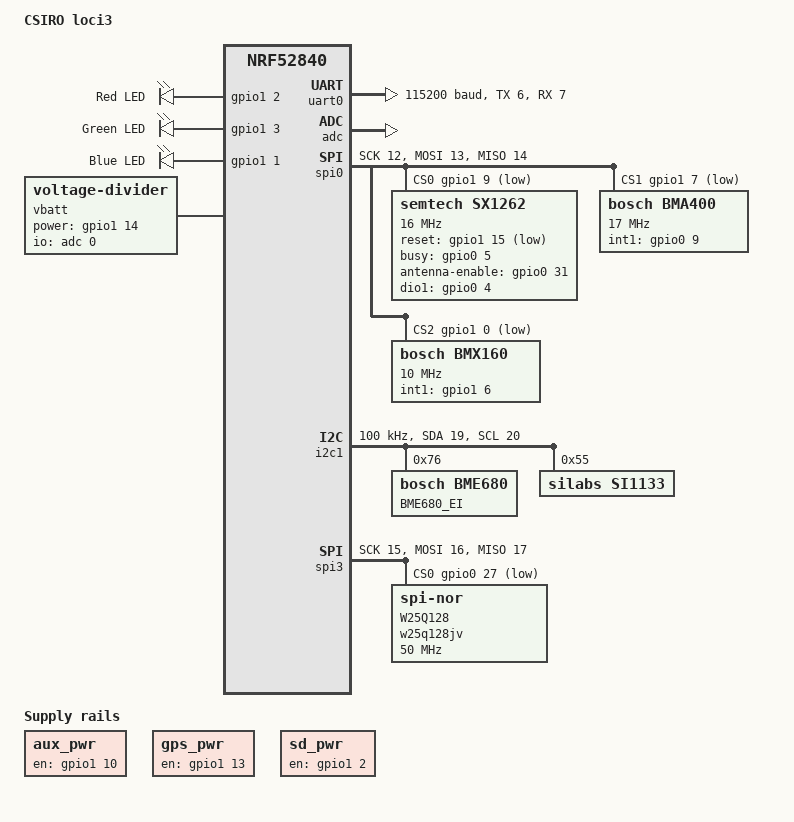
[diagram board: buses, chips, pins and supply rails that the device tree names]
/*
 * Copyright (c) 2021 CSIRO
 *
 * SPDX-License-Identifier: Apache-2.0
 */

 /dts-v1/;
 #include <nordic/nrf52840_qiaa.dtsi>

/ {
	model = "CSIRO loci3";
	compatible = "csiro,loci3";

	chosen {
		zephyr,sram = &sram0;
		zephyr,flash = &flash0;
		zephyr,code-partition = &slot0_partition;
		zephyr,console = &uart0;
		zephyr,shell-uart = &uart0;
	};

	leds {
		compatible = "gpio-leds";
		red_led: led_0 {
			gpios = <&gpio1 2 (GPIO_ACTIVE_HIGH | GPIO_OPEN_SOURCE)>;
			label = "Red LED";
		};
		green_led: led_1 {
			gpios = <&gpio1 3 (GPIO_ACTIVE_HIGH | GPIO_OPEN_SOURCE)>;
			label = "Green LED";
		};
		blue_led: led_2  {
			gpios = <&gpio1 1 (GPIO_ACTIVE_HIGH | GPIO_OPEN_SOURCE)>;
			label = "Blue LED";
		};
	};

	vbatt {
		compatible = "voltage-divider";
		io-channels = <&adc 0>;
		output-ohms = <10000>;
		full-ohms = <(49900 + 10000)>;
		power-gpios = <&gpio1 14 (GPIO_ACTIVE_HIGH | GPIO_OPEN_SOURCE)>;
	};

	/* Auxiliary Power Domain */
	aux_pwr: aux-pwr-ctrl {
		compatible = "regulator-fixed";
		label = "aux-pwr-ctrl";
		regulator-name = "aux-pwr-ctrl";
		enable-gpios = <&gpio1 10 (GPIO_ACTIVE_HIGH | GPIO_OPEN_SOURCE)>;
	};

	/* GPS Power Domain */
	gps_pwr: gps-pwr-ctrl {
		compatible = "regulator-fixed-sync", "regulator-fixed";
		label = "gps-pwr-ctrl";
		regulator-name = "gps-pwr-ctrl";
		enable-gpios = <&gpio1 13 (GPIO_ACTIVE_HIGH | GPIO_OPEN_SOURCE)>;
	};

	/* SD Card Power Domain */
	sd_pwr: sd-pwr-ctrl {
		compatible = "regulator-fixed-sync", "regulator-fixed";
		label = "sd-pwr-ctrl";
		regulator-name = "sd-pwr-ctrl";
		enable-gpios = <&gpio1 2 (GPIO_ACTIVE_HIGH | GPIO_OPEN_SOURCE)>;
	};

	aliases {
		led0 = &red_led;
		led1 = &green_led;
		led2 = &blue_led;

		lora0 = &lora;
	};
};

&uart0 {
	compatible = "nordic,nrf-uarte";
	current-speed = <115200>;
	status = "okay";
	tx-pin = <6>;
	rx-pin = <7>;
	rts-pin = <8>;
	cts-pin = <11>;
};

&gpiote {
	status = "okay";
};

&gpio0 {
	status = "okay";
};

&gpio1 {
	status = "okay";
};

&adc {
	status = "okay";
};

/* SPIM0, SPIM1 and SPIM2 clocks are maximum 8MHz */
&spi0 {
	compatible = "nordic,nrf-spim";
	status = "okay";
	sck-pin = <12>;
	mosi-pin = <13>;
	miso-pin = <14>;
	cs-gpios = <&gpio1 9 (GPIO_ACTIVE_LOW | GPIO_OPEN_DRAIN)>,
			<&gpio1 7 (GPIO_ACTIVE_LOW | GPIO_OPEN_DRAIN)>,
			<&gpio1 0 (GPIO_ACTIVE_LOW | GPIO_OPEN_DRAIN)>;

	lora: sx1262@0 {
		compatible = "semtech,sx1262";
		reg = <0>;
		spi-max-frequency = <16000000>;
		label = "SX1262";
		reset-gpios = <&gpio1 15 (GPIO_ACTIVE_LOW)>;
		busy-gpios = <&gpio0 5 (GPIO_ACTIVE_HIGH)>;
		antenna-enable-gpios = <&gpio0 31 (GPIO_ACTIVE_HIGH)>;
		dio1-gpios = <&gpio0 4 (GPIO_ACTIVE_HIGH)>;
		dio2-tx-enable;
		tcxo-power-startup-delay-ms = <5>;
	};

	bma400: bma400@1 {
		compatible = "bosch,bma400";
		reg = <1>;
		spi-max-frequency = <17000000>;
		label = "BMA400";
		int1-gpios =  <&gpio0 9 (GPIO_ACTIVE_HIGH)>;
	};

	bmx160: bmx160@2 {
		compatible = "bosch,bmx160";
		reg = <2>;
		spi-max-frequency = <10000000>;
		label = "BMX160";
		int1-gpios =  <&gpio1 6 (GPIO_ACTIVE_HIGH)>;
	};
};

daughter_i2c: &i2c1 {
	compatible = "nordic,nrf-twi";
	status = "okay";
	sda-pin = <19>;
	scl-pin = <20>;
	clock-frequency = <I2C_BITRATE_STANDARD>;

	bme680@76{
		compatible = "bosch,bme680";
		reg = <0x76>;
		label = "BME680_EI";
	};
	si1133@55{
		compatible = "silabs,si1133";
		reg = <0x55>;
		label = "SI1133";
	};
};

/* SPIM3 clock is maximum 32MHz */
&spi3 {
	compatible = "nordic,nrf-spim";
	status = "okay";
	sck-pin = <15>;
	mosi-pin = <16>;
	miso-pin = <17>;
	cs-gpios = <&gpio0 27 (GPIO_ACTIVE_LOW | GPIO_OPEN_DRAIN)>;

	onboard_flash: w25q128jv@0 {
		compatible = "jedec,spi-nor";
		reg = <0>;
		spi-max-frequency = <50000000>;
		label = "W25Q128";
		jedec-id = [ef 40 18];
		has-dpd;
		t-enter-dpd = <3000>;
		t-exit-dpd = <3000>;
		size = <134217728>;
	};
};

&flash0 {
	/*
	 * For more information, see:
	 * http://docs.zephyrproject.org/latest/guides/dts/index.html#flash-partitions
	 */
	partitions {
		compatible = "fixed-partitions";
		#address-cells = <1>;
		#size-cells = <1>;

		boot_partition: partition@0 {
			label = "mcuboot";
			reg = <0x000000000 0x0000C000>;
		};
		slot0_partition: partition@c000 {
			label = "image-0";
			reg = <0x0000C000 0x000067000>;
		};
		slot1_partition: partition@73000 {
			label = "image-1";
			reg = <0x00073000 0x000067000>;
		};
		scratch_partition: partition@da000 {
			label = "image-scratch";
			reg = <0x000da000 0x0001e000>;
		};

		/*
		 * The flash starting at 0x000f8000 and ending at
		 * 0x000fffff is reserved for use by the application.
		 */

		/* Storage partition will be used by FCB/NFFS/NVS if enabled. */
		storage_partition: partition@f8000 {
			label = "storage";
			reg = <0x000f8000 0x00008000>;
		};
	};
};
